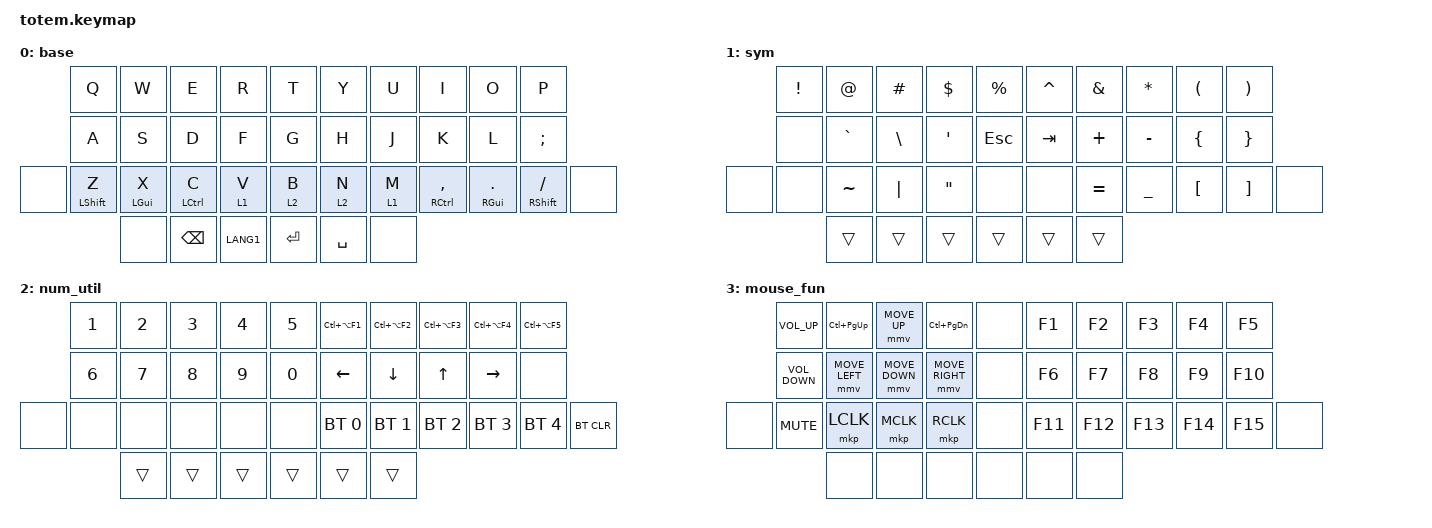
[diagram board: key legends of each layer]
//
//                                                        ▀▀▀▀▀     ▀▀▀▀▀          ▀▀█▀▀
//                                                        ▄▀▀▀▄  ▄  ▄▀▀▀▄  ▄  ▄▀▀▀▄  █  ▄▀▀▀▄
//                                                        █   █  █  █   █  █  █   █  █  █   █
//                                                         ▀▀▀   █   ▀▀▀   █   ▀▀▀   ▀   ▀▀▀
//                                                               █      ▄▄▄█▄▄▄    █   █  
//                                                               ▀      █  █  █     █▄█
//                                                             ▀▀▀▀▀    █  █  █      ▀
//                                                                      ▀  ▀  ▀
//
// ▄▄▄▄▄▄▄▄▄▄▄▄▄▄▄▄▄▄▄▄▄▄▄▄▄▄▄▄▄▄▄▄▄▄▄▄▄▄▄▄▄▄▄▄▄▄▄▄▄▄▄▄▄▄▄▄▄▄▄▄▄▄▄▄▄▄▄▄▄▄▄▄▄▄▄▄▄▄▄▄▄▄▄▄▄▄▄▄▄▄▄▄▄▄▄▄▄▄▄▄▄▄▄▄▄▄▄▄▄▄▄▄▄▄▄▄▄▄▄▄▄▄▄▄▄▄▄▄▄▄▄▄▄▄▄▄▄▄▄▄▄▄▄▄▄▄▄▄▄

#include <behaviors.dtsi>
#include <dt-bindings/zmk/bt.h>
#include <dt-bindings/zmk/keys.h>
#include <dt-bindings/zmk/mouse.h>

/ {
    behaviors {
        mt: mod_tap {
            compatible = "zmk,behavior-hold-tap";
            #binding-cells = <2>;
            flavor = "tap-preferred";
            tapping-term-ms = <200>;
            require-prior-idle-ms = <150>;
            bindings = <&kp>, <&kp>;
        };

        lt_left: layer_tap_left {
            compatible = "zmk,behavior-hold-tap";
            #binding-cells = <2>;
            flavor = "tap-preferred";
            tapping-term-ms = <200>;
            require-prior-idle-ms = <150>;
            hold-trigger-key-positions = <5 6 7 8 9 15 16 17 18 19 26 27 28 29 30 31>;
            bindings = <&mo>, <&kp>;
        };

        lt_right: layer_tap_right {
            compatible = "zmk,behavior-hold-tap";
            #binding-cells = <2>;
            flavor = "tap-preferred";
            tapping-term-ms = <200>;
            require-prior-idle-ms = <150>;
            hold-trigger-key-positions = <0 1 2 3 4 10 11 12 13 14 20 21 22 23 24 25>;
            bindings = <&mo>, <&kp>;
        };
    };

    combos {
        compatible = "zmk,combos";

        combo_layer3_left {
            timeout-ms = <50>;
            key-positions = <24 25>;    // V,B
            bindings = <&mo 3>;
        };

        combo_layer3_right {
            timeout-ms = <50>;
            key-positions = <26 27>;    // N,M
            bindings = <&mo 3>;
        };

        combo_d_f_esc {
            timeout-ms = <50>;
            key-positions = <12 13>;    // d,f
            bindings = <&kp ESC>;
        };
        combo_j_k_tab {
            timeout-ms = <50>;
            key-positions = <16 17>;    // j,k
            bindings = <&kp TAB>;
        };

    };

    keymap {
        compatible = "zmk,keymap";

        base {
            bindings = <
           &kp Q            &kp W       &kp E           &kp R       &kp T       &kp Y           &kp U     &kp I             &kp O           &kp P
           &kp A            &kp S       &kp D           &kp F       &kp G       &kp H           &kp J     &kp K             &kp L           &kp SEMI
&none      &mt LSHFT Z      &mt LGUI X  &mt LCTRL C     &lt_left 1 V     &lt_left 2 B     &lt_right 2 N         &lt_right 1 M   &mt RCTRL COMMA   &mt RGUI DOT    &mt RSHFT FSLH  &none
                            &none       &kp BACKSPACE   &kp LANG1   &kp ENTER   &kp SPACE       &none
            >;
        };

        sym {
            bindings = <
           &kp EXCL     &kp AT      &kp HASH        &kp DOLLAR  &kp PERCENT     &kp CARET  &kp AMPERSAND    &kp ASTRK   &kp LEFT_PARENTHESIS    &kp RIGHT_PARENTHESIS
           &none        &kp GRAVE   &kp BACKSLASH   &kp APOS    &kp ESC         &kp TAB    &kp PLUS         &kp MINUS   &kp LEFT_BRACE          &kp RIGHT_BRACE
&none      &none        &kp TILDE   &kp PIPE        &kp DQT     &none           &none      &kp EQUAL        &kp UNDER   &kp LEFT_BRACKET        &kp RIGHT_BRACKET        &none
                                    &trans          &trans      &trans          &trans     &trans           &trans
            >;
        };

        num_util {
            bindings = <
            &kp N1      &kp N2      &kp N3      &kp N4      &kp N5              &kp LC(LA(F1))  &kp LC(LA(F2))  &kp LC(LA(F3))  &kp LC(LA(F4))  &kp LC(LA(F5))
            &kp N6      &kp N7      &kp N8      &kp N9      &kp N0              &kp LEFT        &kp DOWN        &kp UP          &kp RIGHT       &none
&none       &none       &none       &none       &none       &none               &bt BT_SEL 0    &bt BT_SEL 1    &bt BT_SEL 2    &bt BT_SEL 3    &bt BT_SEL 4    &bt BT_CLR
                                    &trans      &trans      &trans              &trans          &trans          &trans 
            >;
        };


        mouse_fun {
            bindings = <
       &kp C_VOLUME_UP      &kp LC(PAGE_UP)          &mmv MOVE_UP     &kp LC(PAGE_DOWN)     &none   &kp F1      &kp F2        &kp F3    &kp F4      &kp F5
       &kp C_VOLUME_DOWN    &mmv MOVE_LEFT           &mmv MOVE_DOWN   &mmv MOVE_RIGHT       &none   &kp F6      &kp F7        &kp F8    &kp F9      &kp F10
&none  &kp C_MUTE           &mkp LCLK                &mkp MCLK        &mkp RCLK             &none   &kp F11     &kp F12       &kp F13   &kp F14     &kp F15     &none
                                                     &none            &none                 &none   &none       &none         &none
            >;
        };

        extra1 { status = "reserved"; };

        extra2 { status = "reserved"; };

        extra3 { status = "reserved"; };
    };

};
